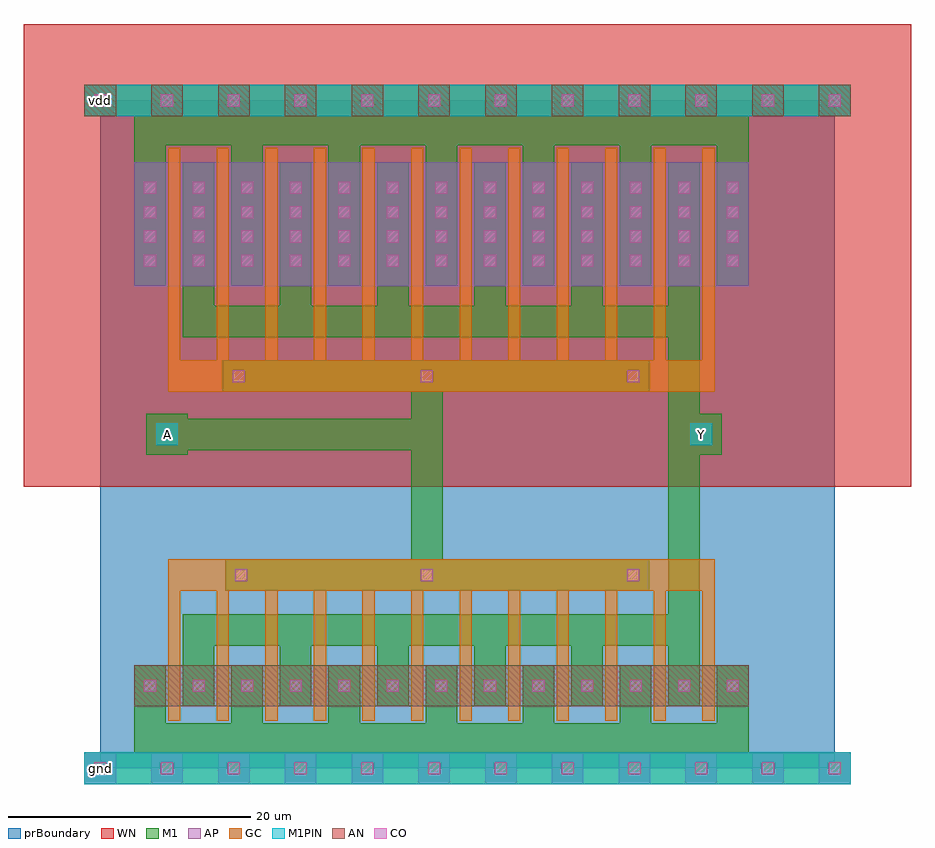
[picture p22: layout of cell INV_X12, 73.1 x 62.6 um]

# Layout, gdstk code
import gdstk
lib = gdstk.Library(unit=1e-6, precision=1e-09)
def R(c, l, rs):  # rectangles x0, y0, x1, y1
    for r in rs: c.add(gdstk.rectangle(r[:2], r[2:], *l))
def A(c, l, x, y, w, h, nx, ny, dx, dy):  # array of equal rectangles
    R(c, l, [(x+i*dx, y+j*dy, x+i*dx+w, y+j*dy+h) for i in range(nx) for j in range(ny)])
def P(c, l, *ps):  # polygons
    for p in ps: c.add(gdstk.Polygon(p, *l))
AP = (3, 1)
AN = (3, 2)
GC = (8, 1)
CO = (11, 0)
M1 = (13, 0)
M1PIN = (48, 1)
WN = (140, 0)
prBoundary = (235, 0)

inv_x12 = lib.new_cell('INV_X12')
A(inv_x12, AP, -1.3, -1.3, 2.6, 2.6, 12, 1, 5.5, 0)
R(inv_x12, AP, [(2.8,39.7,53.4,49.9), (2.8,39.7,53.4,49.9)])
A(inv_x12, AN, -1.3, 53.7, 2.6, 2.6, 12, 1, 5.5, 0)
R(inv_x12, AN, [(2.8,5.1,53.4,8.5)])
P(inv_x12, GC, [(5.6,3.9),(5.6,17.2),(50.6,17.2),(50.6,3.9),(49.6,3.9),(49.6,14.6),(46.6,14.6),(46.6,3.9),(45.6,3.9),(45.6,14.6),(42.6,14.6),(42.6,3.9),(41.6,3.9),(41.6,14.6),(38.6,14.6),(38.6,3.9),(37.6,3.9),(37.6,14.6),(34.6,14.6),(34.6,3.9),(33.6,3.9),(33.6,14.6),(30.6,14.6),(30.6,3.9),(29.6,3.9),(29.6,14.6),(26.6,14.6),(26.6,3.9),(25.6,3.9),(25.6,14.6),(22.6,14.6),(22.6,3.9),(21.6,3.9),(21.6,14.6),(18.6,14.6),(18.6,3.9),(17.6,3.9),(17.6,14.6),(14.6,14.6),(14.6,3.9),(13.6,3.9),(13.6,14.6),(10.6,14.6),(10.6,3.9),(9.6,3.9),(9.6,14.6),(6.6,14.6),(6.6,3.9)],
  [(5.6,31),(5.6,51.1),(6.6,51.1),(6.6,33.6),(9.6,33.6),(9.6,51.1),(10.6,51.1),(10.6,33.6),(13.6,33.6),(13.6,51.1),(14.6,51.1),(14.6,33.6),(17.6,33.6),(17.6,51.1),(18.6,51.1),(18.6,33.6),(21.6,33.6),(21.6,51.1),(22.6,51.1),(22.6,33.6),(25.6,33.6),(25.6,51.1),(26.6,51.1),(26.6,33.6),(29.6,33.6),(29.6,51.1),(30.6,51.1),(30.6,33.6),(33.6,33.6),(33.6,51.1),(34.6,51.1),(34.6,33.6),(37.6,33.6),(37.6,51.1),(38.6,51.1),(38.6,33.6),(41.6,33.6),(41.6,51.1),(42.6,51.1),(42.6,33.6),(45.6,33.6),(45.6,51.1),(46.6,51.1),(46.6,33.6),(49.6,33.6),(49.6,51.1),(50.6,51.1),(50.6,31)])
A(inv_x12, CO, -0.5, -0.5, 1, 1, 12, 2, 5.5, 55)
A(inv_x12, CO, 3.6, 6.3, 1, 1, 13, 2, 4, 35)
A(inv_x12, CO, 3.6, 43.3, 1, 1, 13, 3, 4, 2)
R(inv_x12, CO, [(11.1,15.4,12.1,16.4), (26.4,15.4,27.4,16.4), (43.4,15.4,44.4,16.4), (10.9,31.8,11.9,32.8), (26.4,31.8,27.4,32.8), (43.4,31.8,44.4,32.8)])
P(inv_x12, M1, [(-1.3,-1.3),(-1.3,1.3),(2.8,1.3),(2.8,8.5),(5.4,8.5),(5.4,3.7),(10.8,3.7),(10.8,8.5),(13.4,8.5),(13.4,3.7),(18.8,3.7),(18.8,8.5),(21.4,8.5),(21.4,3.7),(26.8,3.7),(26.8,8.5),(29.4,8.5),(29.4,3.7),(34.8,3.7),(34.8,8.5),(37.4,8.5),(37.4,3.7),(42.8,3.7),(42.8,8.5),(45.4,8.5),(45.4,3.7),(50.8,3.7),(50.8,8.5),(53.4,8.5),(53.4,1.3),(61.8,1.3),(61.8,-1.3)],
  [(10.3,14.6),(10.3,17.2),(25.6,17.2),(25.6,26.2),(7.2,26.2),(7.2,25.8),(3.8,25.8),(3.8,29.2),(7.2,29.2),(7.2,28.8),(25.6,28.8),(25.6,31),(10.1,31),(10.1,33.6),(45.2,33.6),(45.2,31),(28.2,31),(28.2,17.2),(45.2,17.2),(45.2,14.6)],
  [(6.8,5.1),(6.8,12.7),(46.8,12.7),(46.8,35.5),(6.8,35.5),(6.8,49.9),(9.4,49.9),(9.4,38.1),(14.8,38.1),(14.8,49.9),(17.4,49.9),(17.4,38.1),(22.8,38.1),(22.8,49.9),(25.4,49.9),(25.4,38.1),(30.8,38.1),(30.8,49.9),(33.4,49.9),(33.4,38.1),(38.8,38.1),(38.8,49.9),(41.4,49.9),(41.4,38.1),(46.8,38.1),(46.8,49.9),(49.4,49.9),(49.4,29.2),(51.2,29.2),(51.2,25.8),(49.4,25.8),(49.4,5.1),(46.8,5.1),(46.8,10.1),(41.4,10.1),(41.4,5.1),(38.8,5.1),(38.8,10.1),(33.4,10.1),(33.4,5.1),(30.8,5.1),(30.8,10.1),(25.4,10.1),(25.4,5.1),(22.8,5.1),(22.8,10.1),(17.4,10.1),(17.4,5.1),(14.8,5.1),(14.8,10.1),(9.4,10.1),(9.4,5.1)],
  [(2.8,39.7),(2.8,53.7),(-1.3,53.7),(-1.3,56.3),(61.8,56.3),(61.8,53.7),(53.4,53.7),(53.4,39.7),(50.8,39.7),(50.8,51.3),(45.4,51.3),(45.4,39.7),(42.8,39.7),(42.8,51.3),(37.4,51.3),(37.4,39.7),(34.8,39.7),(34.8,51.3),(29.4,51.3),(29.4,39.7),(26.8,39.7),(26.8,51.3),(21.4,51.3),(21.4,39.7),(18.8,39.7),(18.8,51.3),(13.4,51.3),(13.4,39.7),(10.8,39.7),(10.8,51.3),(5.4,51.3),(5.4,39.7)])
R(inv_x12, M1PIN, [(-1.3,-1.3,61.8,1.3), (4.6,26.6,6.4,28.4), (48.6,26.6,50.4,28.4), (-1.3,53.7,61.8,56.3)])
R(inv_x12, WN, [(-6.3,23.2,66.8,61.3)])
R(inv_x12, prBoundary, [(0,0,60.5,55)])
inv_x12.add(gdstk.Label('Y', (49.5,27.5), layer=48, texttype=0))
inv_x12.add(gdstk.Label('A', (5.5,27.5), layer=48, texttype=0))
inv_x12.add(gdstk.Label('vdd', (0,55), layer=48, texttype=0))
inv_x12.add(gdstk.Label('gnd', (0,0), layer=48, texttype=0))

lib.write_gds('INV_X12.gds')
